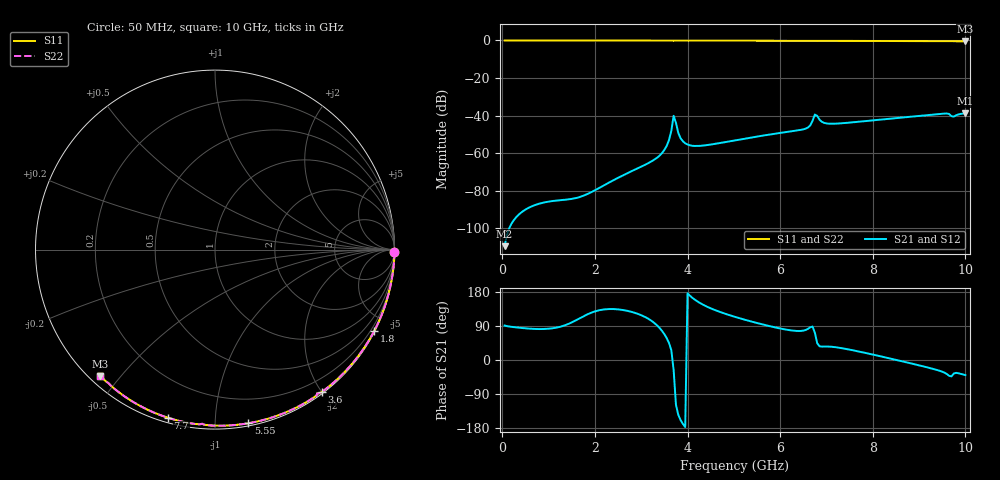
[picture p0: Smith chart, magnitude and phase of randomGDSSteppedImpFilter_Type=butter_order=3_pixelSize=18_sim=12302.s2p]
! freq	dB(S11)	phase(S11)	dB(S12)	phase(S12)
!  dB(S21)	phase(S21)	dB(S22)	phase(S22)
!S-par simulation data
#  GHz  S  DB  R 50
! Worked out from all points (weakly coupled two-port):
!   200 points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, 50 MHz to 10 GHz, reference 50 ohm
!   highest |S21| = -38.69 dB at 10 GHz (marker M1); lowest = -109.4 dB at 50 MHz (marker M2)
!   lowest |S11| = -0.4 dB at 10 GHz (marker M3), VSWR 39.51, Z = 1.51 - j22.1 ohm
!   |S11| at or under -10 dB: nowhere
!   |S22| runs from -0.4 to 0.0 dB; largest |S21 - S12| = 0
!   S11 on the Smith chart (normalised r, x): 50 MHz: open; 1.8 GHz: 0.04, -4.15; 3.6 GHz: 0.02, -2.00; 5.55 GHz: 0.02, -1.21; 7.7 GHz: 0.02, -0.76; 10 GHz: 0.03, -0.44
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0.05  -0.00 -0.8  -109.43 91.0  -109.43 91.0  -0.00 -0.8
1.75  -0.03 -26.4  -82.61 115.3  -82.61 115.3  -0.03 -26.4
1.8  -0.03 -27.1  -82.10 118.3  -82.10 118.3  -0.03 -27.1
2  -0.04 -30.1  -79.71 128.3  -79.71 128.3  -0.04 -30.1
3.4  -0.07 -50.2  -61.20 84.2  -61.20 84.2  -0.07 -50.2
3.6  -0.08 -53.1  -52.97 44.9  -52.97 44.9  -0.08 -53.1
3.65  -0.09 -53.9  -48.08 25.9  -48.08 25.9  -0.09 -53.9
3.7  -0.16 -54.7  -40.08 -26.4  -40.08 -26.4  -0.16 -54.7
3.85  -0.08 -56.3  -52.02 -158.6  -52.02 -158.6  -0.08 -56.3
4  -0.08 -58.5  -55.34 176.0  -55.34 176.0  -0.08 -58.5
4.3  -0.09 -62.6  -56.00 148.2  -56.00 148.2  -0.09 -62.6
5.05  -0.11 -72.6  -53.03 112.9  -53.03 112.9  -0.11 -72.6
5.55  -0.13 -79.1  -50.93 96.0  -50.93 96.0  -0.13 -79.1
6.5  -0.17 -91.2  -47.28 77.5  -47.28 77.5  -0.17 -91.2
6.7  -0.21 -93.7  -42.72 88.3  -42.72 88.3  -0.21 -93.7
6.75  -0.24 -94.2  -39.41 71.9  -39.41 71.9  -0.24 -94.2
7  -0.20 -97.2  -44.13 35.6  -44.13 35.6  -0.20 -97.2
7.7  -0.24 -105.6  -43.22 22.4  -43.22 22.4  -0.24 -105.6
8.35  -0.29 -113.3  -41.65 4.6  -41.65 4.6  -0.29 -113.3
9.55  -0.40 -127.2  -38.89 -33.5  -38.89 -33.5  -0.40 -127.2
9.75  -0.42 -129.3  -40.49 -35.6  -40.49 -35.6  -0.42 -129.3
10  -0.44 -132.2  -38.69 -39.9  -38.69 -39.9  -0.44 -132.2
